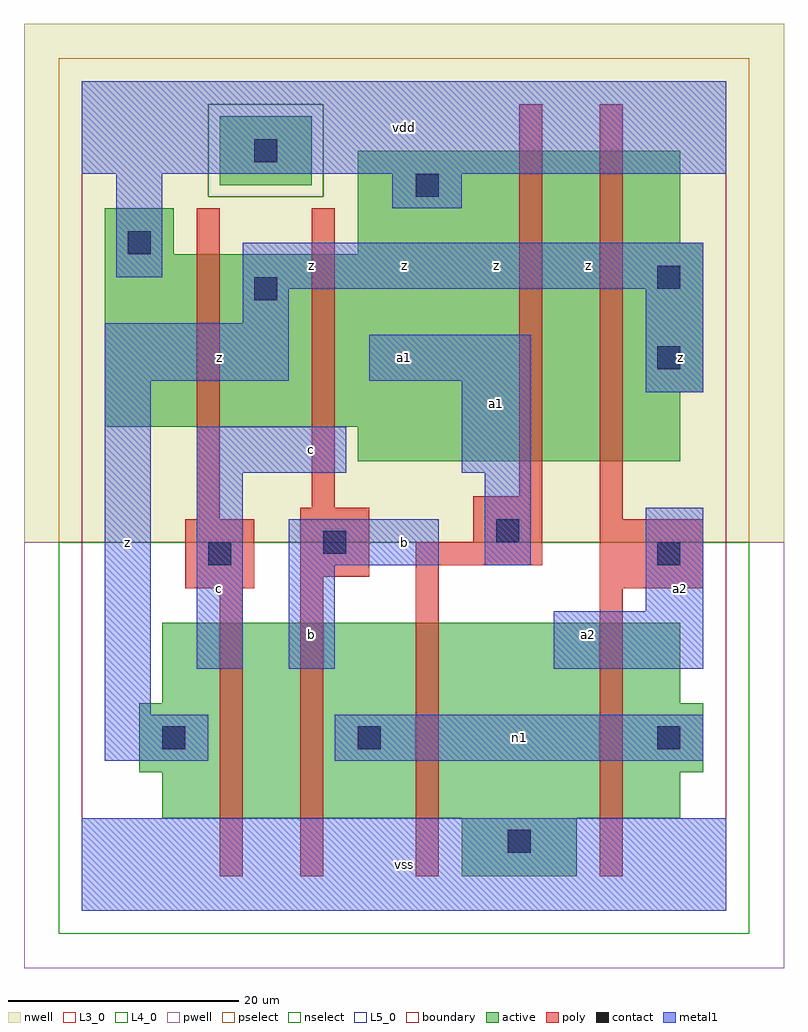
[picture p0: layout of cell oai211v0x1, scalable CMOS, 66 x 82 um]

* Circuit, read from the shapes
.subckt oai211v0x1 a1 a2 b c n1 vdd vss z
M1 n2 c z VSUBS nfet w=17u l=2u
M2 n1 b n2 VSUBS nfet w=17u l=2u
M3 vss a1 n1 VSUBS nfet w=17u l=2u
M4 n1 a2 vss VSUBS nfet w=17u l=2u
M5 z c vdd vdd pfet w=15u l=2u
M6 vdd b z vdd pfet w=15u l=2u
M7 n3 a1 vdd vdd pfet w=27u l=2u
M8 z a2 n3 vdd pfet w=27u l=2u
.ends

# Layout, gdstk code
import gdstk
lib = gdstk.Library(unit=1e-6, precision=1e-09)
def R(c, l, rs):  # rectangles x0, y0, x1, y1
    for r in rs: c.add(gdstk.rectangle(r[:2], r[2:], *l))
L3_0 = (3, 0)
L4_0 = (4, 0)
L5_0 = (5, 0)
contact = (25, 0)
pwell = (41, 0)
nwell = (42, 0)
active = (43, 0)
pselect = (44, 0)
nselect = (45, 0)
poly = (46, 0)
metal1 = (49, 0)
boundary = (63, 0)

oai211v0x1 = lib.new_cell('oai211v0x1')
R(oai211v0x1, L3_0, [(33,3,43,8), (7,8,52,12), (5,12,54,18), (7,18,52,25)])
R(oai211v0x1, L4_0, [(24,39,52,42), (2,42,52,45), (2,45,54,57), (2,57,8,61), (24,57,54,58), (24,58,52,66)])
R(oai211v0x1, L5_0, [(12,63,20,69)])
R(oai211v0x1, contact, [(37,5,39,7), (7,14,9,16), (24,14,26,16), (50,14,52,16), (11,30,13,32), (50,30,52,32), (21,31,23,33), (36,32,38,34), (50,47,52,49), (15,53,17,55), (50,54,52,56), (4,57,6,59), (29,62,31,64), (15,65,17,67)])
R(oai211v0x1, pwell, [(-5,-5,61,32)])
R(oai211v0x1, nwell, [(-5,32,61,77)])
R(oai211v0x1, active, [(33,3,43,8), (7,8,52,12), (5,12,54,18), (7,18,52,25), (24,39,52,42), (2,42,52,45), (2,45,54,57), (2,57,8,61), (24,57,54,58), (24,58,52,66), (12,63,20,69)])
R(oai211v0x1, pselect, [(-2,32,58,62), (-2,62,11,70), (21,62,58,70), (-2,70,58,74)])
R(oai211v0x1, nselect, [(-2,-2,58,32), (11,62,21,70)])
R(oai211v0x1, poly, [(12,3,14,28), (19,3,21,29), (29,3,31,30), (45,3,47,28), (9,28,15,34), (45,28,54,34), (19,29,25,35), (29,30,40,32), (34,32,40,36), (10,34,12,61), (45,34,47,70), (20,35,22,61), (38,36,40,70)])
R(oai211v0x1, metal1, [(0,0,56,8), (2,13,11,17), (22,13,54,17), (2,17,6,46), (10,21,14,38), (18,21,22,30), (41,21,54,26), (49,26,54,35), (18,30,31,34), (35,30,39,38), (10,38,23,42), (33,38,39,46), (49,45,54,54), (2,46,18,51), (25,46,39,50), (14,51,18,54), (14,54,54,58), (3,55,7,64), (27,61,33,64), (0,64,56,72)])
R(oai211v0x1, boundary, [(0,0,56,72)])
oai211v0x1.add(gdstk.Label('n1', (38,15), layer=49, texttype=0))
oai211v0x1.add(gdstk.Label('z', (4,32), layer=49, texttype=0))
oai211v0x1.add(gdstk.Label('c', (12,28), layer=49, texttype=0))
oai211v0x1.add(gdstk.Label('b', (20,24), layer=49, texttype=0))
oai211v0x1.add(gdstk.Label('c', (20,40), layer=49, texttype=0))
oai211v0x1.add(gdstk.Label('z', (12,48), layer=49, texttype=0))
oai211v0x1.add(gdstk.Label('z', (20,56), layer=49, texttype=0))
oai211v0x1.add(gdstk.Label('vss', (28,4), layer=49, texttype=0))
oai211v0x1.add(gdstk.Label('b', (28,32), layer=49, texttype=0))
oai211v0x1.add(gdstk.Label('a1', (28,48), layer=49, texttype=0))
oai211v0x1.add(gdstk.Label('a1', (36,44), layer=49, texttype=0))
oai211v0x1.add(gdstk.Label('z', (36,56), layer=49, texttype=0))
oai211v0x1.add(gdstk.Label('z', (28,56), layer=49, texttype=0))
oai211v0x1.add(gdstk.Label('vdd', (28,68), layer=49, texttype=0))
oai211v0x1.add(gdstk.Label('a2', (44,24), layer=49, texttype=0))
oai211v0x1.add(gdstk.Label('a2', (52,28), layer=49, texttype=0))
oai211v0x1.add(gdstk.Label('z', (52,48), layer=49, texttype=0))
oai211v0x1.add(gdstk.Label('z', (44,56), layer=49, texttype=0))

lib.write_gds('oai211v0x1.gds')
